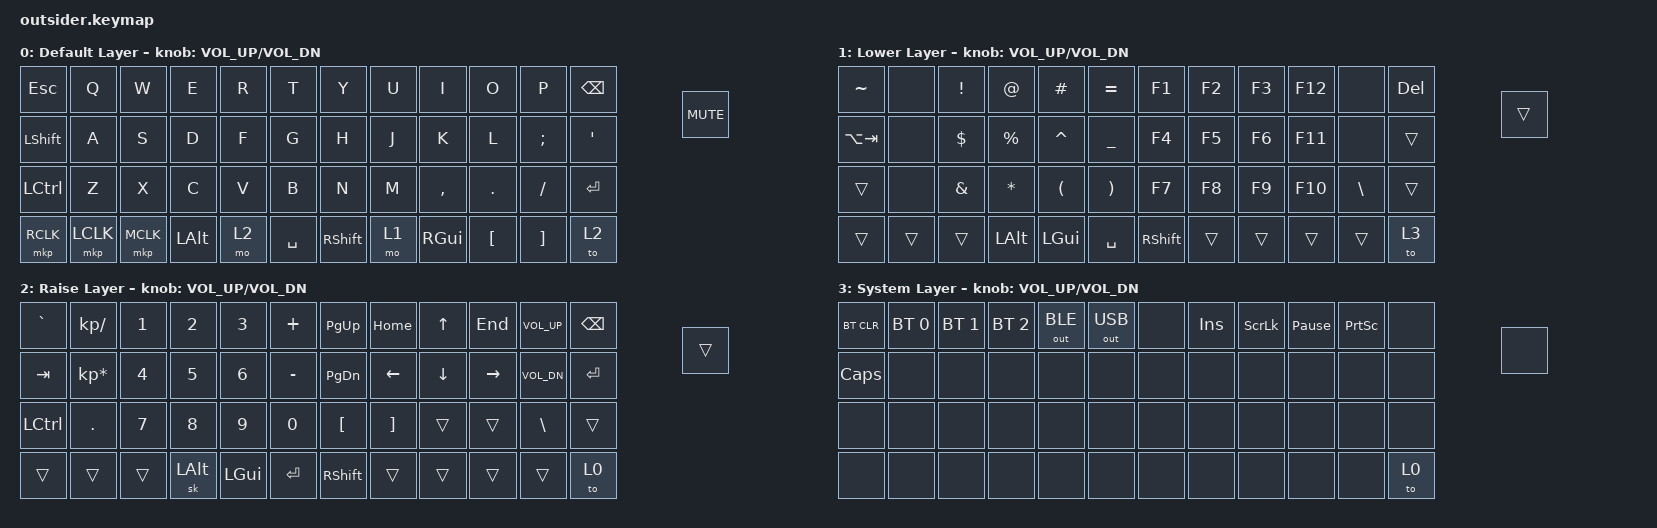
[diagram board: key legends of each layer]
#include <behaviors.dtsi>
#include <dt-bindings/zmk/keys.h>
#include <dt-bindings/zmk/bt.h>
#include <dt-bindings/zmk/outputs.h>
#include <dt-bindings/zmk/pointing.h>

/ {
    keymap {
        compatible = "zmk,keymap";

        // Layer 0: Base
        default_layer {
            display-name = "Default Layer";
            bindings = <
                &kp ESC   &kp Q     &kp W     &kp E     &kp R     &kp T      &kp Y     &kp U     &kp I     &kp O     &kp P     &kp BSPC  &kp C_MUTE
                &kp LSHFT &kp A     &kp S     &kp D     &kp F     &kp G      &kp H     &kp J     &kp K     &kp L     &kp SEMI  &kp SQT
                &kp LCTRL &kp Z     &kp X     &kp C     &kp V     &kp B      &kp N     &kp M     &kp COMMA &kp DOT   &kp FSLH  &kp RET
                &mkp RCLK &mkp LCLK &mkp MCLK &kp LALT  &mo 2     &kp SPACE  &kp RSHFT &mo 1     &kp RGUI  &kp LBKT  &kp RBKT  &to 2     
            >;
            sensor-bindings = <&inc_dec_kp C_VOL_UP C_VOL_DN>;
        };

        // Layer 1: Lower
        lower_layer {
            display-name = "Lower Layer";
            bindings = <
                &kp TILDE   &none   &kp EXCL  &kp AT    &kp HASH  &kp EQUAL  &kp F1    &kp F2    &kp F3    &kp F12   &none     &kp DEL &trans
                &kp LA(TAB) &none   &kp DLLR  &kp PRCNT &kp CARET &kp UNDER  &kp F4    &kp F5    &kp F6    &kp F11   &none     &trans
                &trans      &none   &kp AMPS  &kp STAR  &kp LPAR  &kp RPAR   &kp F7    &kp F8    &kp F9    &kp F10   &kp BSLH  &trans
                &trans      &trans  &trans    &kp LALT  &kp LGUI  &kp SPACE  &kp RSHFT &trans    &trans    &trans    &trans    &to 3     
            >;
            sensor-bindings = <&inc_dec_kp C_VOL_UP C_VOL_DN>;
        };

        // Layer 2: Raise
        raise_layer {
            display-name = "Raise Layer";
            bindings = <
                &kp GRAVE &kp KP_DIVIDE   &kp N1 &kp N2    &kp N3    &kp PLUS   &kp PG_UP &kp HOME  &kp UP    &kp END   &kp C_VOL_UP &kp BSPC &trans 
                &kp TAB   &kp KP_MULTIPLY &kp N4 &kp N5    &kp N6    &kp MINUS  &kp PG_DN &kp LEFT  &kp DOWN  &kp RIGHT &kp C_VOL_DN &kp RET
                &kp LCTRL &kp DOT         &kp N7 &kp N8    &kp N9    &kp N0     &kp LBKT  &kp RBKT  &trans    &trans    &kp BSLH     &trans
                &trans    &trans          &trans &sk LALT  &kp LGUI  &kp RET    &kp RSHFT &trans    &trans    &trans    &trans       &to 0     
            >;
            sensor-bindings = <&inc_dec_kp C_VOL_UP C_VOL_DN>;
        };

        // Layer 3: System/Control
        sys_layer {
            display-name = "System Layer";
            bindings = <
                &bt BT_CLR   &bt BT_SEL 0 &bt BT_SEL 1 &bt BT_SEL 2 &out OUT_BLE &out OUT_USB &none  &kp INS  &kp SLCK &kp PAUSE_BREAK  &kp PSCRN &none &none
                &kp CAPS     &none        &none        &none        &none        &none        &none  &none    &none    &none            &none     &none
                &none        &none        &none        &none        &none        &none        &none  &none    &none    &none            &none     &none
                &none        &none        &none        &none        &none        &none        &none  &none    &none    &none            &none     &to 0      
            >;
            sensor-bindings = <&inc_dec_kp C_VOL_UP C_VOL_DN>;
        };
    };
};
